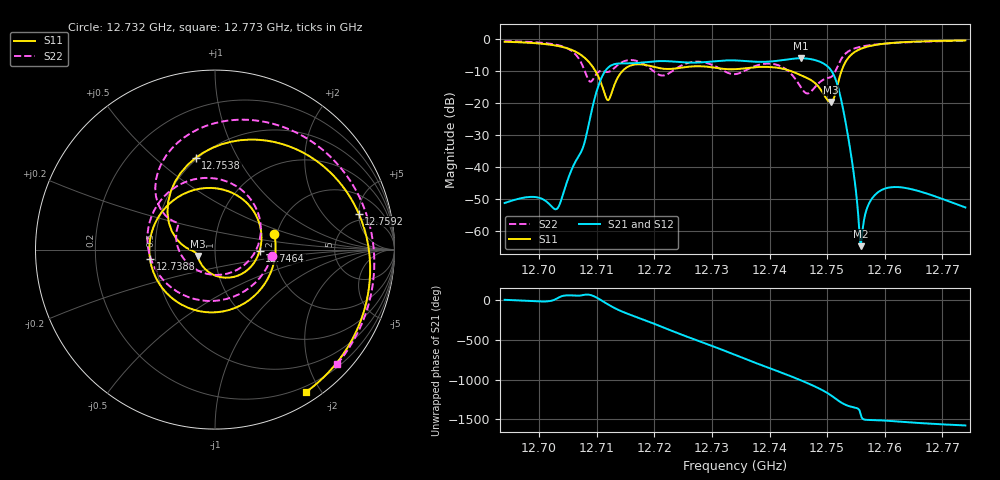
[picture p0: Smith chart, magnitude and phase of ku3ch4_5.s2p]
#  HZ  S  RI  R  50.00
! Rohde & Schwarz ZVA50 2Ports - Version 3.70 - 1145.1110k50 SN: 100192
! Date: 2025-10-24 10:36:28
! Measurements: S11 S21 S12 S22
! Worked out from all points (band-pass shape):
!   401 points, 12.694 GHz to 12.774 GHz, reference 50 ohm
!   highest |S21| = -6.05 dB at 12.7454 GHz (marker M1); lowest = -64.6 dB at 12.7558 GHz (marker M2)
!   |S21| within 3 dB of the highest: 12.71193 GHz to 12.75034 GHz (38.41 MHz wide, 0.302 % of centre)
!   lowest |S11| = -19.7 dB at 12.7506 GHz (marker M3), VSWR 1.23, Z = 41 - j2.97 ohm
!   |S11| at or under -10 dB: 12.70976 GHz to 12.71447 GHz (4.706 MHz wide, 0.037 % of centre); 12.74365 GHz to 12.7525 GHz (8.853 MHz wide, 0.0694 % of centre)
!   |S22| runs from -17.0 to -0.6 dB; largest |S21 - S12| = 0.00012
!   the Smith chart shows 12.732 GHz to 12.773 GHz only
!   S11 on the Smith chart (normalised r, x): 12.732 GHz: 1.94, +0.37; 12.7388 GHz: 0.47, -0.06; 12.7464 GHz: 1.66, -0.03; 12.7538 GHz: 0.49, +0.69; 12.7592 GHz: 4.00, +5.03; 12.773 GHz: 0.13, -1.82
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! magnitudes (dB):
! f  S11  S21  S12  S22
! 12.694 GHz  -0.9  -51.1  -51.1  -0.7
! 12.703 GHz  -2.1  -53.0  -53.0  -1.9
! 12.7074 GHz  -5.2  -34.8  -34.7  -7.8
! 12.7088 GHz  -7.6  -25.0  -25.0  -13.3
! 12.7118 GHz  -19.0  -9.3  -9.3  -10.3
! 12.7154 GHz  -8.7  -7.6  -7.6  -6.7
! 12.7208 GHz  -9.1  -6.9  -6.9  -11.2
! 12.727 GHz  -8.5  -7.4  -7.4  -7.1
! 12.732 GHz  -9.3  -6.7  -6.7  -9.9
! 12.734 GHz  -9.5  -6.7  -6.7  -11.0
! 12.7388 GHz  -8.7  -7.2  -7.2  -7.8
! 12.7454 GHz  -11.3  -6.0  -6.0  -15.0
! 12.7464 GHz  -12.1  -6.1  -6.1  -17.0
! 12.7474 GHz  -13.1  -6.4  -6.4  -16.1
! 12.7506 GHz  -19.7  -9.6  -9.6  -11.9
! 12.752 GHz  -13.0  -15.7  -15.7  -7.8
! 12.7538 GHz  -5.6  -32.2  -32.2  -3.8
! 12.7558 GHz  -3.1  -64.6  -64.6  -2.5
! 12.7592 GHz  -1.7  -47.3  -47.3  -1.6
! 12.7608 GHz  -1.3  -46.3  -46.3  -1.4
! 12.773 GHz  -0.5  -51.8  -51.8  -0.6
! 12.774 GHz  -0.5  -52.5  -52.5  -0.6
